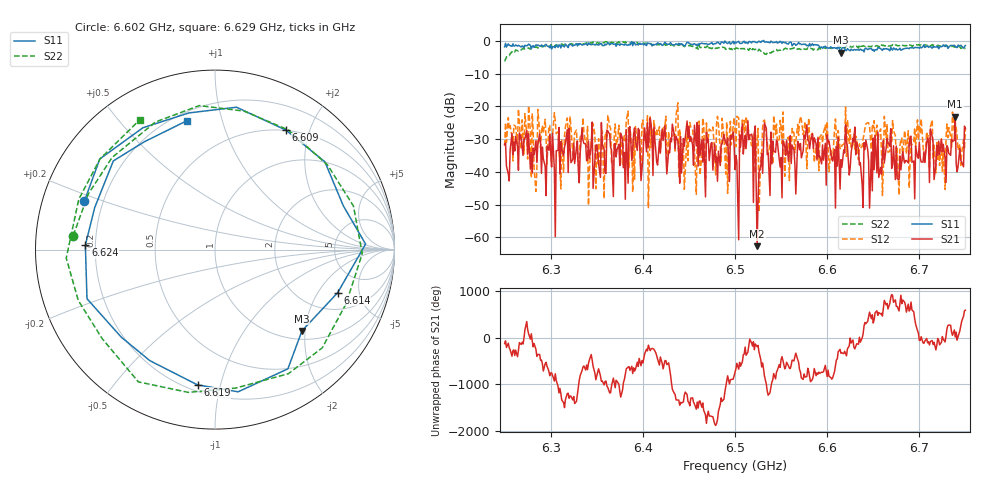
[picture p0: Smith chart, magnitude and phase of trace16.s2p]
# Hz S RI R 50
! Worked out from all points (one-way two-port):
!   401 points, 6.25 GHz to 6.75 GHz, reference 50 ohm
!   highest |S21| = -23.08 dB at 6.739 GHz (marker M1); lowest = -62.7 dB at 6.524 GHz (marker M2)
!   lowest |S11| = -3.6 dB at 6.615 GHz (marker M3), VSWR 4.94, Z = 59.4 - j96.1 ohm
!   |S11| at or under -10 dB: nowhere
!   |S22| runs from -6.2 to -0.2 dB; largest |S21 - S12| = 0.14
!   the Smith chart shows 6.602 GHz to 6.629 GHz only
!   S11 on the Smith chart (normalised r, x): 6.602 GHz: 0.13, +0.18; 6.609 GHz: 0.50, +1.65; 6.614 GHz: 3.01, -3.04; 6.619 GHz: 0.24, -0.85; 6.624 GHz: 0.16, +0.02; 6.629 GHz: 0.25, +0.77
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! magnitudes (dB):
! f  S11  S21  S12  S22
! 6.25 GHz  -1.8  -31.7  -32.0  -6.2
! 6.311 GHz  -2.1  -30.8  -45.2  -1.0
! 6.334 GHz  -1.2  -26.5  -29.7  -0.6
! 6.418 GHz  -0.9  -30.5  -26.2  -1.1
! 6.49 GHz  -0.4  -31.0  -40.7  -2.6
! 6.5 GHz  -0.3  -39.3  -27.3  -2.4
! 6.516 GHz  -0.1  -28.9  -29.4  -2.3
! 6.524 GHz  -0.5  -62.7  -30.0  -2.5
! 6.534 GHz  -0.3  -26.7  -29.2  -4.1
! 6.584 GHz  -0.8  -28.3  -28.2  -2.4
! 6.602 GHz  -2.2  -30.6  -39.9  -2.0
! 6.609 GHz  -2.2  -51.1  -23.8  -2.1
! 6.614 GHz  -2.8  -45.3  -32.8  -1.7
! 6.615 GHz  -3.6  -36.3  -33.1  -2.0
! 6.619 GHz  -2.4  -34.2  -30.4  -2.2
! 6.624 GHz  -2.8  -41.0  -31.3  -1.8
! 6.629 GHz  -2.7  -30.8  -28.3  -1.6
! 6.636 GHz  -2.4  -37.2  -32.9  -1.6
! 6.668 GHz  -3.0  -32.1  -33.7  -1.5
! 6.725 GHz  -1.7  -33.9  -39.8  -1.4
! 6.739 GHz  -1.7  -23.1  -28.7  -1.7
! 6.75 GHz  -1.4  -26.8  -26.7  -2.3
